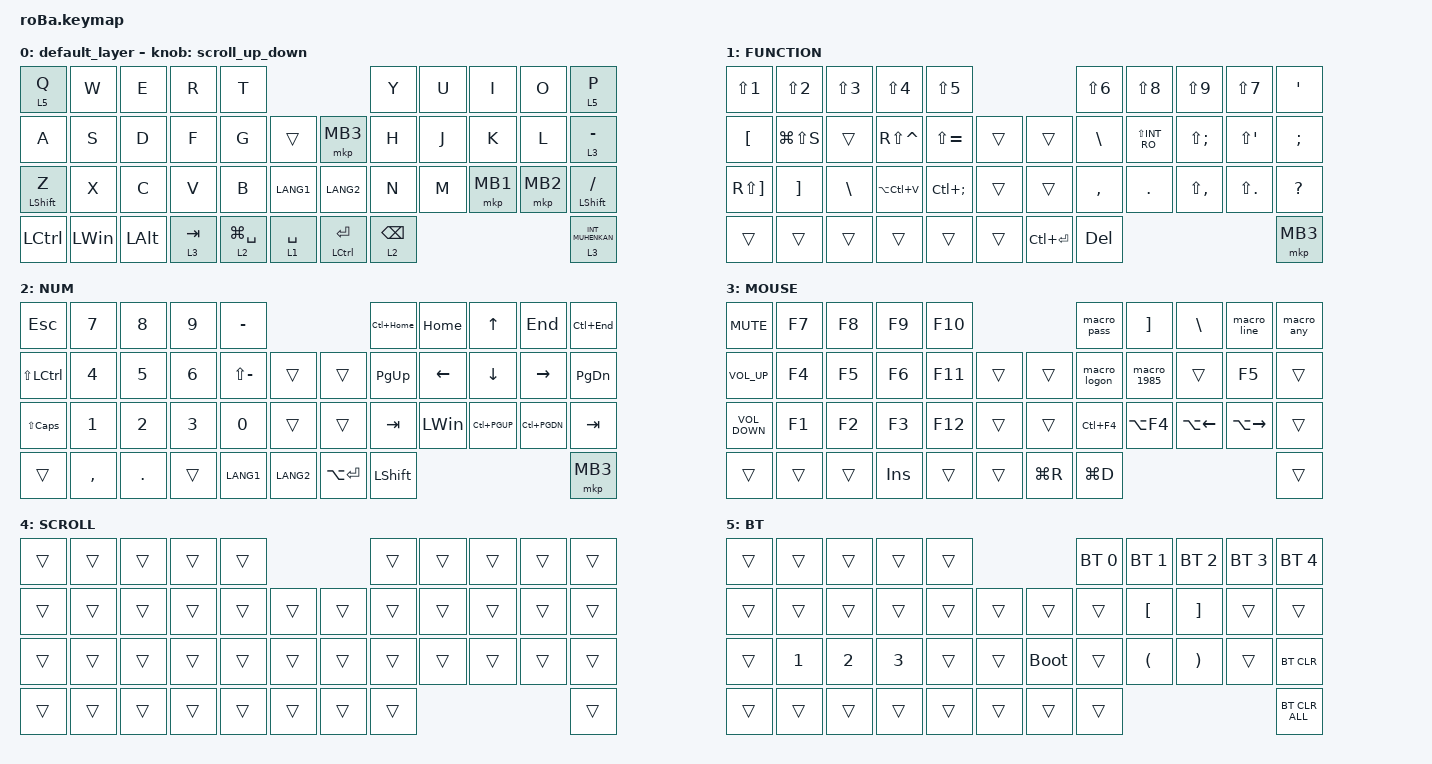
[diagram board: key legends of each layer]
#include <behaviors.dtsi>
#include <dt-bindings/zmk/bt.h>
#include <dt-bindings/zmk/keys.h>
#include <dt-bindings/zmk/pointing.h>
#include "symbols.h"

#define ZMK_POINTING_DEFAULT_SCRL_VAL 100

&mt {
    flavor = "balanced";
    quick-tap-ms = <0>;
};

&trackball {
    automouse-layer = <4>;
    scroll-layers = <3>;

    // arrows {
    //     layers = <3>;
    //     bindings =
    //         <&kp RIGHT_ARROW>,
    //         <&kp LEFT_ARROW>,
    //         <&kp UP_ARROW>,
    //         <&kp DOWN_ARROW>;
    //     tick = <10>;
    //     wait-ms = <5>;
    //     tap-ms = <5>;
    // };
};

/ {
    combos {
        compatible = "zmk,combos";

        tab {
            bindings = <&kp TAB>;
            key-positions = <11 12>;
        };

        shift_tab {
            bindings = <&kp LS(TAB)>;
            key-positions = <12 13>;
        };

        muhennkann {
            bindings = <&to_layer_0 INT_MUHENKAN>;
            key-positions = <11 10>;
        };

        double_quotation {
            bindings = <&kp DOUBLE_QUOTES>;
            key-positions = <20 21>;
        };

        eq {
            bindings = <&kp EQUAL>;
            key-positions = <24 25>;
        };
    };

    macros {
        to_layer_0: to_layer_0 {
            compatible = "zmk,behavior-macro-one-param";
            #binding-cells = <1>;
            bindings = <&to 0 &macro_param_1to1 &kp MACRO_PLACEHOLDER>;
            label = "TO_LAYER_0";
        };

        macro_1985: macro_1985 {
            label = "macro_1985";
            compatible = "zmk,behavior-macro";
            #binding-cells = <0>;
            bindings = <&kp N1 &kp N9 &kp N8 &kp N5 &kp N0 &kp N2 &kp N1 &kp N5 &kp ENTER>;
        };

        macro_pass: macro_pass {
            label = "macro_pass";
            compatible = "zmk,behavior-macro";
            #binding-cells = <0>;
            bindings = <&kp LS(Z) &kp S &kp E &kp N4 &kp N5 &kp N6 &kp T &kp F &kp C &kp X &kp ENTER>;
        };

        macro_bcc11703: macro_bcc11703 {
            label = "macro_bcc11703";
            compatible = "zmk,behavior-macro";
            #binding-cells = <0>;
            bindings = <&kp B &kp C &kp C &kp N1 &kp N1 &kp N7 &kp N0 &kp N3 &kp TAB>;
        };

        macro_logon: macro_logon {
            label = "macro_logon";
            compatible = "zmk,behavior-macro";
            #binding-cells = <0>;
            bindings = <&kp B &kp C &kp C &kp N1 &kp N1 &kp N7 &kp N0 &kp N3 &kp TAB &kp LS(Z) &kp S &kp E &kp N4 &kp N5 &kp N6 &kp T &kp F &kp C &kp X &kp ENTER>;
        };

        macro_line: macro_line {
            label = "macro_line";
            compatible = "zmk,behavior-macro";
            #binding-cells = <0>;
            bindings = <&kp G &kp N7 &kp W &kp Q &kp N2 &kp B &kp Z &kp S &kp ENTER>;
        };

        macro_any: macro_any {
            label = "macro_any";
            compatible = "zmk,behavior-macro";
            #binding-cells = <0>;
            bindings = <&kp LS(N5) &kp B &kp C &kp C &kp N1 &kp N1 &kp N7 &kp N0 &kp N3 &kp S &kp ENTER>;
        };
    };

    behaviors {
        lt_to_layer_0: lt_to_layer_0 {
            compatible = "zmk,behavior-hold-tap";
            label = "LAYER_TAP_TO_0";
            bindings = <&mo>, <&to_layer_0>;

            #binding-cells = <2>;
            tapping-term-ms = <200>;
        };

        scroll_up_down: behavior_sensor_rotate_mouse_wheel_up_down {
            compatible = "zmk,behavior-sensor-rotate";
            #sensor-binding-cells = <0>;
            bindings = <&msc SCRL_DOWN>, <&msc SCRL_UP>;

            // 追加: スクロールのタップ時間を設定 (20ms)

            tap-ms = <20>;
        };
    };

    keymap {
        compatible = "zmk,keymap";

        default_layer {
            bindings = <
&lt 5 Q       &kp W         &kp E         &kp R      &kp T                                              &kp Y       &kp U  &kp I     &kp O     &lt 5 P
&kp A         &kp S         &kp D         &kp F      &kp G            &trans           &mkp MB3         &kp H       &kp J  &kp K     &kp L     &lt 3 MINUS
&mt LSHIFT Z  &kp X         &kp C         &kp V      &kp B            &kp LANG1        &kp LANG2        &kp N       &kp M  &mkp MB1  &mkp MB2  &mt LSHIFT SLASH
&kp LCTRL     &kp LEFT_WIN  &kp LEFT_ALT  &lt 3 TAB  &lt 2 LG(SPACE)  &lt 1 SPACE      &mt LCTRL ENTER  &lt 2 BSPC                             &lt 3 INT_MUHENKAN
            >;

            sensor-bindings = <&scroll_up_down>;
        };

        FUNCTION {
            bindings = <
&kp LS(N1)    &kp LS(N2)         &kp LS(N3)     &kp LS(N4)     &kp LS(N5)                                    &kp LS(N6)     &kp LS(N8)      &kp LS(N9)     &kp LS(N7)      &kp SQT
&kp LBKT      &kp LG(LS(S))      &trans         &kp RS(CARET)  &kp LS(EQUAL)      &trans      &trans         &kp BACKSLASH  &kp LS(INT_RO)  &kp LS(SEMI)   &kp LS(SQT)     &kp SEMICOLON
&kp RS(RBKT)  &kp RIGHT_BRACKET  &kp BACKSLASH  &kp LA(LC(V))  &kp LC(SEMICOLON)  &trans      &trans         &kp COMMA      &kp DOT         &kp LS(COMMA)  &kp LS(PERIOD)  &kp QUESTION
&trans        &trans             &trans         &trans         &trans             &trans      &kp LC(ENTER)  &kp DEL                                                       &mkp MB3
            >;
        };

        NUM {
            bindings = <
&kp ESC        &kp N7     &kp N8   &kp N9  &kp MINUS                                    &kp LC(HOME)  &kp HOME      &kp UP        &kp END       &kp LC(END)
&kp LS(LCTRL)  &kp N4     &kp N5   &kp N6  &kp LS(MINUS)  &trans         &trans         &kp PAGE_UP   &kp LEFT      &kp DOWN      &kp RIGHT     &kp PAGE_DOWN
&kp LS(CAPS)   &kp N1     &kp N2   &kp N3  &kp N0         &trans         &trans         &kp TAB       &kp LEFT_WIN  &kp LC(PGUP)  &kp LC(PGDN)  &kp TAB
&trans         &kp COMMA  &kp DOT  &trans  &kp LANG1      &kp LANG2      &kp LA(ENTER)  &kp LSHIFT                                              &mkp MB3
            >;
        };

        MOUSE {
            bindings = <
&kp C_MUTE         &kp F7  &kp F8  &kp F9   &kp F10                         &macro_pass   &kp RBKT     &kp BACKSLASH  &macro_line    &macro_any
&kp C_VOLUME_UP    &kp F4  &kp F5  &kp F6   &kp F11  &trans      &trans     &macro_logon  &macro_1985  &trans         &kp F5         &trans
&kp C_VOLUME_DOWN  &kp F1  &kp F2  &kp F3   &kp F12  &trans      &trans     &kp LC(F4)    &kp LA(F4)   &kp LA(LEFT)   &kp LA(RIGHT)  &trans
&trans             &trans  &trans  &kp INS  &trans   &trans      &kp LG(R)  &kp LG(D)                                                &trans
            >;
        };

        SCROLL {
            bindings = <
&trans  &trans  &trans  &trans  &trans                      &trans  &trans  &trans  &trans  &trans
&trans  &trans  &trans  &trans  &trans  &trans      &trans  &trans  &trans  &trans  &trans  &trans
&trans  &trans  &trans  &trans  &trans  &trans      &trans  &trans  &trans  &trans  &trans  &trans
&trans  &trans  &trans  &trans  &trans  &trans      &trans  &trans                          &trans
            >;
        };

        BT {
            bindings = <
&trans  &trans        &trans        &trans        &trans                           &bt BT_SEL 0  &bt BT_SEL 1          &bt BT_SEL 2           &bt BT_SEL 3  &bt BT_SEL 4
&trans  &trans        &trans        &trans        &trans  &trans      &trans       &trans        &kp LEFT_BRACKET      &kp RIGHT_BRACKET      &trans        &trans
&trans  &kp NUMBER_1  &kp NUMBER_2  &kp NUMBER_3  &trans  &trans      &bootloader  &trans        &kp LEFT_PARENTHESIS  &kp RIGHT_PARENTHESIS  &trans        &bt BT_CLR
&trans  &trans        &trans        &trans        &trans  &trans      &trans       &trans                                                                   &bt BT_CLR_ALL
            >;
        };
    };
};
